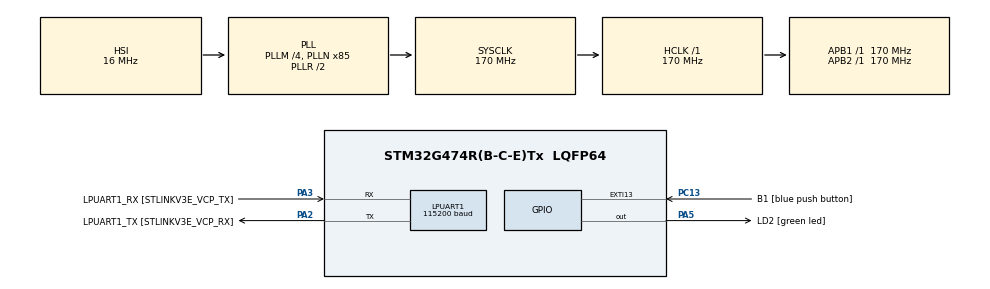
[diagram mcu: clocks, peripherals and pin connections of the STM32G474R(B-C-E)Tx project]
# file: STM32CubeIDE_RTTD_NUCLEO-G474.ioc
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LPUART1.BaudRate=115200
LPUART1.WordLength=UART_WORDLENGTH_8B
Mcu.Family=STM32G4
Mcu.Name=STM32G474R(B-C-E)Tx
Mcu.Package=LQFP64
NVIC.EXTI15_10_IRQn=true\:0\:0\:false\:false\:true\:true\:true
NVIC.PriorityGroup=NVIC_PRIORITYGROUP_4
PA13.GPIO_Label=T_SWDIO
PA13.Mode=Serial_Wire
PA13.Signal=SYS_JTMS-SWDIO
PA14.GPIO_Label=T_SWCLK
PA14.Mode=Serial_Wire
PA14.Signal=SYS_JTCK-SWCLK
PA2.GPIO_Label=LPUART1_TX [STLINKV3E_VCP_RX]
PA2.Mode=Asynchronous
PA2.Signal=LPUART1_TX
PA3.GPIO_Label=LPUART1_RX [STLINKV3E_VCP_TX]
PA3.Mode=Asynchronous
PA3.Signal=LPUART1_RX
PA5.GPIO_Label=LD2 [green led]
PA5.Signal=GPIO_Output
PB3.GPIO_Label=T_SWO
PB3.Signal=SYS_JTDO-SWO
PC13.GPIO_Label=B1 [blue push button]
PC13.Signal=GPXTI13
PC14-OSC32_IN.Mode=LSE-External-Oscillator
PC14-OSC32_IN.Signal=RCC_OSC32_IN
PC15-OSC32_OUT.Mode=LSE-External-Oscillator
PC15-OSC32_OUT.Signal=RCC_OSC32_OUT
PF0-OSC_IN.Mode=HSE-External-Oscillator
PF0-OSC_IN.Signal=RCC_OSC_IN
PF1-OSC_OUT.Mode=HSE-External-Oscillator
PF1-OSC_OUT.Signal=RCC_OSC_OUT
ProjectManager.HeapSize=0x200
ProjectManager.StackSize=0x400
ProjectManager.TargetToolchain=STM32CubeIDE
RCC.ADC12Freq_Value=170000000
RCC.ADC345Freq_Value=170000000
RCC.AHBFreq_Value=170000000
RCC.APB1Freq_Value=170000000
RCC.APB1TimFreq_Value=170000000
RCC.APB2Freq_Value=170000000
RCC.APB2TimFreq_Value=170000000
RCC.CortexFreq_Value=170000000
RCC.EXTERNAL_CLOCK_VALUE=12288000
RCC.HCLKFreq_Value=170000000
RCC.HSE_VALUE=24000000
RCC.HSI48_VALUE=48000000
RCC.HSI_VALUE=16000000
RCC.PLLM=RCC_PLLM_DIV4
RCC.PLLN=85
RCC.RTCClockSelection=RCC_RTCCLKSOURCE_LSE
RCC.SYSCLKFreq_VALUE=170000000
RCC.SYSCLKSource=RCC_SYSCLKSOURCE_PLLCLK
RCC.USBFreq_Value=170000000
RCC.VCOOutputFreq_Value=340000000
VP_SYS_VS_DBSignals.Mode=DisableDeadBatterySignals
board=NUCLEO-G474RE

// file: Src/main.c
/* USER CODE BEGIN Header */
/**
  ******************************************************************************
  * @file           : main.c
  * @brief          : Main program body
  ******************************************************************************
  * @attention
  *
  * <h2><center>&copy; Copyright (c) 2020 STMicroelectronics.
  * All rights reserved.</center></h2>
  *
  * This software component is licensed by ST under BSD 3-Clause license,
  * the "License"; You may not use this file except in compliance with the
  * License. You may obtain a copy of the License at:
  *                        opensource.org/licenses/BSD-3-Clause
  *
  ******************************************************************************
  */
/* USER CODE END Header */

#include "main.h"

/* USER CODE BEGIN Includes */
#include "trice.h"
#include "SEGGER_RTT.h"
/* USER CODE END Includes */

UART_HandleTypeDef hlpuart1;

void SystemClock_Config(void);
static void MX_GPIO_Init(void);
static void MX_LPUART1_UART_Init(void);

int main(void)
{

  /* MCU Configuration--------------------------------------------------------*/

  /* Reset of all peripherals, Initializes the Flash interface and the Systick. */
  HAL_Init();

  /* Configure the system clock */
  SystemClock_Config();

  /* Initialize all configured peripherals */
  MX_GPIO_Init();
  MX_LPUART1_UART_Init();

  /* Infinite loop */
  /* USER CODE BEGIN WHILE */
	SEGGER_RTT_printf( 0, "Hello world\n" );
    SEGGER_RTT_Init();
    TRICE_RTT_SYNC;

	TRICE16_1( Id(14522), "tim:timing      message, SysTick is %6d\n", SYSTICKVAL16 );
	TRICE0( Id(39533), "att:STM32CubeIDE_RTTD_NUCLEO-G474\n" );
	TRICE16_1( Id(14522), "tim:timing      message, SysTick is %6d\n", SYSTICKVAL16 );
	TRICE16_1( Id(14522), "tim:timing      message, SysTick is %6d\n", SYSTICKVAL16 );
	TRICE16_1( Id(14522), "tim:timing      message, SysTick is %6d\n", SYSTICKVAL16 );
	TRICE16_1( Id(14522), "tim:timing      message, SysTick is %6d\n", SYSTICKVAL16 );
	while (1)
  {
  //////////////////////////////////////////////////
  // demo trices
  //
  static uint32_t ms_1 = 0;
  uint32_t ms = HAL_GetTick();
  if( ms >= ms_1 + 1000 ){ // every sec
      static int index = 0;
      TRICE_RTT_SYNC; // helps to re-sync when connected to a running target
      triceCheckSet(index++%20);
      TRICE32_1( Id(25382), "time:ms = %d\n", ms );
      ms_1 = ms;
  }
  //
  //////////////////////////////////////////////////

  //////////////////////////////////////////////////
  // no needed background activity
  //////////////////////////////////////////////////

    /* USER CODE END WHILE */

  }
}

void SystemClock_Config(void)
{
  RCC_OscInitTypeDef RCC_OscInitStruct = {0};
  RCC_ClkInitTypeDef RCC_ClkInitStruct = {0};
  RCC_PeriphCLKInitTypeDef PeriphClkInit = {0};

  /** Configure the main internal regulator output voltage
  */
  HAL_PWREx_ControlVoltageScaling(PWR_REGULATOR_VOLTAGE_SCALE1_BOOST);
  /** Initializes the CPU, AHB and APB busses clocks
  */
  RCC_OscInitStruct.OscillatorType = RCC_OSCILLATORTYPE_HSI;
  RCC_OscInitStruct.HSIState = RCC_HSI_ON;
  RCC_OscInitStruct.HSICalibrationValue = RCC_HSICALIBRATION_DEFAULT;
  RCC_OscInitStruct.PLL.PLLState = RCC_PLL_ON;
  RCC_OscInitStruct.PLL.PLLSource = RCC_PLLSOURCE_HSI;
  RCC_OscInitStruct.PLL.PLLM = RCC_PLLM_DIV4;
  RCC_OscInitStruct.PLL.PLLN = 85;
  RCC_OscInitStruct.PLL.PLLP = RCC_PLLP_DIV2;
  RCC_OscInitStruct.PLL.PLLQ = RCC_PLLQ_DIV2;
  RCC_OscInitStruct.PLL.PLLR = RCC_PLLR_DIV2;
  if (HAL_RCC_OscConfig(&RCC_OscInitStruct) != HAL_OK)
  {
    Error_Handler();
  }
  /** Initializes the CPU, AHB and APB busses clocks
  */
  RCC_ClkInitStruct.ClockType = RCC_CLOCKTYPE_HCLK|RCC_CLOCKTYPE_SYSCLK
                              |RCC_CLOCKTYPE_PCLK1|RCC_CLOCKTYPE_PCLK2;
  RCC_ClkInitStruct.SYSCLKSource = RCC_SYSCLKSOURCE_PLLCLK;
  RCC_ClkInitStruct.AHBCLKDivider = RCC_SYSCLK_DIV1;
  RCC_ClkInitStruct.APB1CLKDivider = RCC_HCLK_DIV1;
  RCC_ClkInitStruct.APB2CLKDivider = RCC_HCLK_DIV1;

  if (HAL_RCC_ClockConfig(&RCC_ClkInitStruct, FLASH_LATENCY_8) != HAL_OK)
  {
    Error_Handler();
  }
  /** Initializes the peripherals clocks
  */
  PeriphClkInit.PeriphClockSelection = RCC_PERIPHCLK_LPUART1;
  PeriphClkInit.Lpuart1ClockSelection = RCC_LPUART1CLKSOURCE_PCLK1;
  if (HAL_RCCEx_PeriphCLKConfig(&PeriphClkInit) != HAL_OK)
  {
    Error_Handler();
  }
}

static void MX_LPUART1_UART_Init(void)
{

  hlpuart1.Instance = LPUART1;
  hlpuart1.Init.BaudRate = 115200;
  hlpuart1.Init.WordLength = UART_WORDLENGTH_8B;
  hlpuart1.Init.StopBits = UART_STOPBITS_1;
  hlpuart1.Init.Parity = UART_PARITY_NONE;
  hlpuart1.Init.Mode = UART_MODE_TX_RX;
  hlpuart1.Init.HwFlowCtl = UART_HWCONTROL_NONE;
  hlpuart1.Init.OneBitSampling = UART_ONE_BIT_SAMPLE_DISABLE;
  hlpuart1.AdvancedInit.AdvFeatureInit = UART_ADVFEATURE_NO_INIT;
  if (HAL_UART_Init(&hlpuart1) != HAL_OK)
  {
    Error_Handler();
  }
  if (HAL_UARTEx_SetTxFifoThreshold(&hlpuart1, UART_TXFIFO_THRESHOLD_1_8) != HAL_OK)
  {
    Error_Handler();
  }
  if (HAL_UARTEx_SetRxFifoThreshold(&hlpuart1, UART_RXFIFO_THRESHOLD_1_8) != HAL_OK)
  {
    Error_Handler();
  }
  if (HAL_UARTEx_DisableFifoMode(&hlpuart1) != HAL_OK)
  {
    Error_Handler();
  }

}

static void MX_GPIO_Init(void)
{
  GPIO_InitTypeDef GPIO_InitStruct = {0};

  /* GPIO Ports Clock Enable */
  __HAL_RCC_GPIOC_CLK_ENABLE();
  __HAL_RCC_GPIOF_CLK_ENABLE();
  __HAL_RCC_GPIOA_CLK_ENABLE();
  __HAL_RCC_GPIOB_CLK_ENABLE();

  /*Configure GPIO pin Output Level */
  HAL_GPIO_WritePin(LD2_GPIO_Port, LD2_Pin, GPIO_PIN_RESET);

  /*Configure GPIO pin : B1_Pin */
  GPIO_InitStruct.Pin = B1_Pin;
  GPIO_InitStruct.Mode = GPIO_MODE_IT_RISING;
  GPIO_InitStruct.Pull = GPIO_NOPULL;
  HAL_GPIO_Init(B1_GPIO_Port, &GPIO_InitStruct);

  /*Configure GPIO pin : LD2_Pin */
  GPIO_InitStruct.Pin = LD2_Pin;
  GPIO_InitStruct.Mode = GPIO_MODE_OUTPUT_PP;
  GPIO_InitStruct.Pull = GPIO_NOPULL;
  GPIO_InitStruct.Speed = GPIO_SPEED_FREQ_LOW;
  HAL_GPIO_Init(LD2_GPIO_Port, &GPIO_InitStruct);

  /* EXTI interrupt init*/
  HAL_NVIC_SetPriority(EXTI15_10_IRQn, 0, 0);
  HAL_NVIC_EnableIRQ(EXTI15_10_IRQn);

}

void Error_Handler(void)
{
}

/************************ (C) COPYRIGHT STMicroelectronics *****END OF FILE****/
